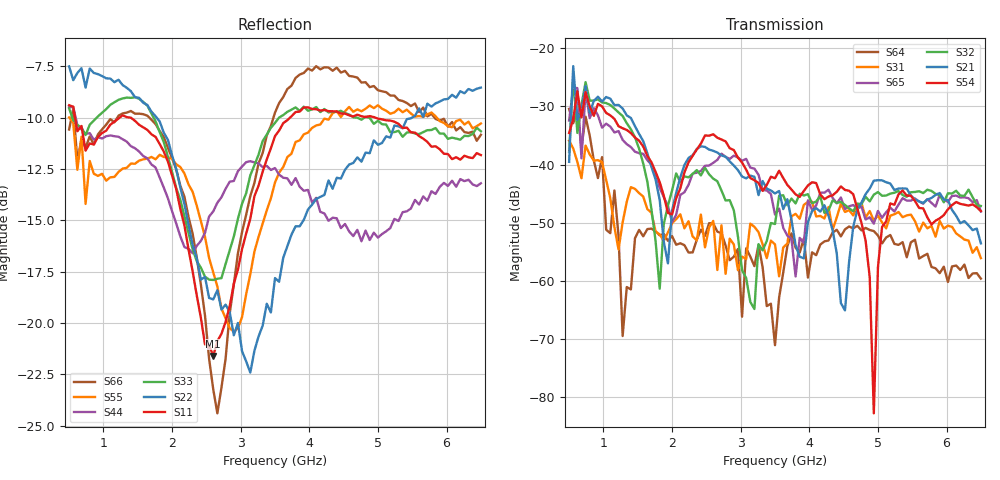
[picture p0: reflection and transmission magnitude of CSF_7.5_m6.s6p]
!Keysight Technologies,M9804A,MY58100912,A.14.10.03
!Date: Thursday, April 27, 2023 10:28:33
!Correction: S11(C  6-Port  )
!S12(C  6-Port  )
!S13(C  6-Port  )
!S14(C  6-Port  )
!S15(C  6-Port  )
!S16(C  6-Port  )
!S21(C  6-Port  )
!S22(C  6-Port  )
!S23(C  6-Port  )
!S24(C  6-Port  )
!S25(C  6-Port  )
!S26(C  6-Port  )
!S31(C  6-Port  )
!S32(C  6-Port  )
!S33(C  6-Port  )
!S34(C  6-Port  )
!S35(C  6-Port  )
!S36(C  6-Port  )
!S41(C  6-Port  )
!S42(C  6-Port  )
!S43(C  6-Port  )
!S44(C  6-Port  )
!S45(C  6-Port  )
!S46(C  6-Port  )
!S51(C  6-Port  )
!S52(C  6-Port  )
!S53(C  6-Port  )
!S54(C  6-Port  )
!S55(C  6-Port  )
!S56(C  6-Port  )
!S61(C  6-Port  )
!S62(C  6-Port  )
!S63(C  6-Port  )
!S64(C  6-Port  )
!S65(C  6-Port  )
!S66(C  6-Port  )
!S6P File: Measurement: :
# Hz S  RI  R 50
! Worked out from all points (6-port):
!   101 points, 500 MHz to 6.5 GHz, reference 50 ohm
!   strongest paths, dB at 500 MHz, 2 GHz, 3.5 GHz, 5 GHz, 6.5 GHz:
!     S54: -34.6, -48.6, -42.4, -57.7, -48.0
!     S21: -39.5, -47.9, -45.0, -42.7, -53.6
!     S32: -37.8, -44.5, -50.2, -44.7, -47.1
!     S65: -32.4, -49.9, -48.6, -48.0, -48.1
!     S31: -35.9, -50.1, -53.7, -48.8, -56.1
!     S64: -30.4, -52.3, -71.1, -52.2, -59.6
!   lowest |S11| = -21.6 dB at 2.6 GHz (marker M1), VSWR 1.18, Z = 42.6 + j2.06 ohm
!   |S11| at or under -10 dB: 587 MHz to 1.233 GHz (646.4 MHz wide, 71 % of centre); 1.402 GHz to 3.717 GHz (2.315 GHz wide, 90.4 % of centre); 4.968 GHz to end of sweep
